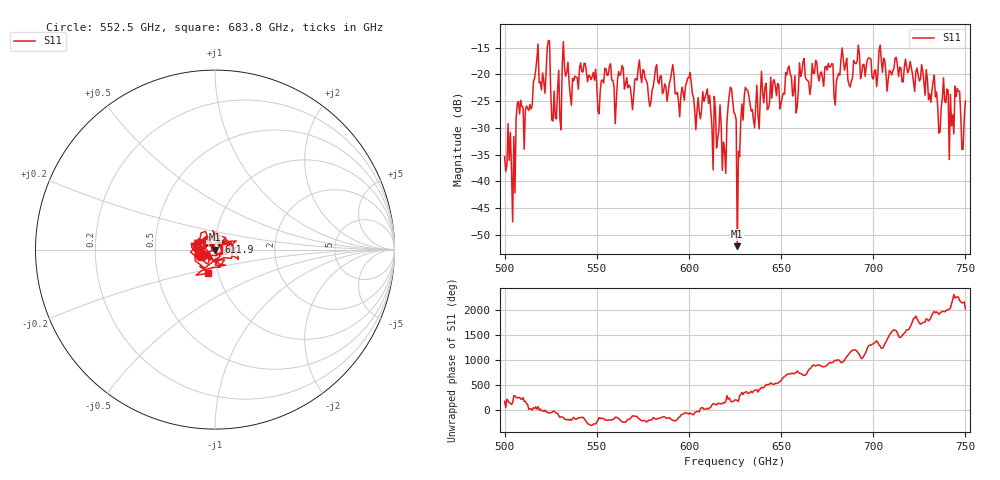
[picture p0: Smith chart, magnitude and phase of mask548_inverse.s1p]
!Created with skrf (http://scikit-rf.org).
# GHz S MA R 50.0
!freq magS11 angS11
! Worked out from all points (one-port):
!   401 points, 500 GHz to 750 GHz, reference 50 ohm
!   lowest |S11| = -52.1 dB at 626.2 GHz (marker M1), VSWR 1.00, Z = 49.8 - j0.0702 ohm
!   |S11| at or under -10 dB: start of sweep to end of sweep
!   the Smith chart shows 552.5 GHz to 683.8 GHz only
!   S11 on the Smith chart (normalised r, x): 552.5 GHz: 0.85, -0.06; 611.9 GHz: 1.04, +0.08; 683.8 GHz: 0.90, -0.24
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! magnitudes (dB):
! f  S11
! 500 GHz  -35.3
! 505 GHz  -31.6
! 507.5 GHz  -25.1
! 511.9 GHz  -25.9
! 516.9 GHz  -19.2
! 523.8 GHz  -13.6
! 526.9 GHz  -23.1
! 531.2 GHz  -18.4
! 552.5 GHz  -21.1
! 562.5 GHz  -20.2
! 593.8 GHz  -23.3
! 600 GHz  -20.7
! 611.9 GHz  -26.8
! 619.4 GHz  -34.2
! 622.5 GHz  -22.4
! 625 GHz  -27.5
! 626.2 GHz  -52.1
! 631.2 GHz  -22.8
! 635 GHz  -28.5
! 656.2 GHz  -24.0
! 680 GHz  -21.3
! 683.8 GHz  -17.2
! 687.5 GHz  -22.4
! 718.8 GHz  -19.7
! 739.4 GHz  -25.3
! 742.5 GHz  -29.6
! 745.6 GHz  -22.6
! 750 GHz  -25.0
